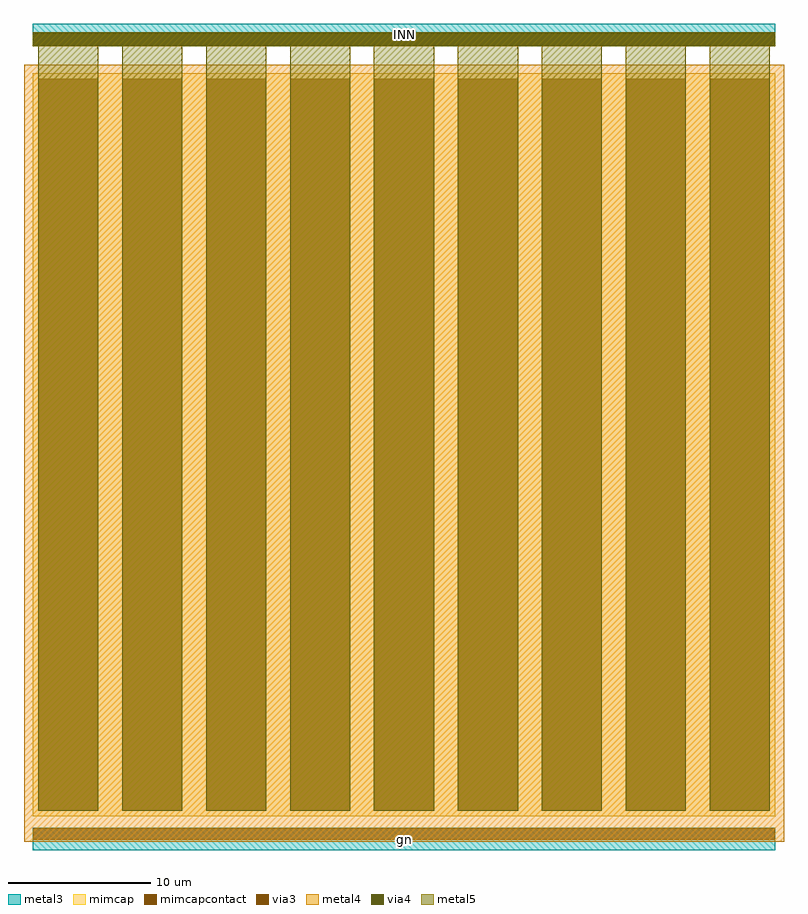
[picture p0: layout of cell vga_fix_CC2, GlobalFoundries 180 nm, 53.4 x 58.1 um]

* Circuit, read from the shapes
.subckt vga_fix_CC2 INN gn
XC1 INN gn cap_mim_2f0fF c_width=52.2u c_length=52.2u
.ends

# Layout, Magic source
magic
tech gf180mcuD
magscale 1 10
<< metal3 >>
rect 0 -340 10440 -160
rect 0 10820 10440 11020
rect 0 10820 10440 11140
rect 0 10820 10440 11140
rect 0 -480 10440 -160
rect 0 -480 10440 -160
<< metal4 >>
rect -120 -360 10560 10560
rect 0 -340 10440 -160
rect 0 10820 10440 11020
rect 0 10820 10440 11020
<< mimcap >>
rect 0 0 10440 10440
<< metal5 >>
rect 78 78 922 10920
rect 1258 78 2102 10920
rect 2438 78 3282 10920
rect 3618 78 4462 10920
rect 4798 78 5642 10920
rect 5978 78 6822 10920
rect 7158 78 8002 10920
rect 8338 78 9182 10920
rect 9518 78 10362 10920
rect 0 10820 10440 11020
rect 0 10820 10440 11020
<< via3 >>
rect 10 -330 10430 -170
rect 10 10830 10430 11010
<< via4 >>
rect 10 10830 10430 11010
<< mimcapcontact >>
rect 78 78 922 10362
rect 1258 78 2102 10362
rect 2438 78 3282 10362
rect 3618 78 4462 10362
rect 4798 78 5642 10362
rect 5978 78 6822 10362
rect 7158 78 8002 10362
rect 8338 78 9182 10362
rect 9518 78 10362 10362
<< labels >>
flabel metal3 s 0 10820 10440 11140 0 FreeSans 80 0 0 0 INN
port 1 nsew signal bidirectional
flabel metal3 s 0 -480 10440 -160 0 FreeSans 80 0 0 0 gn
port 2 nsew signal bidirectional
<< end >>
